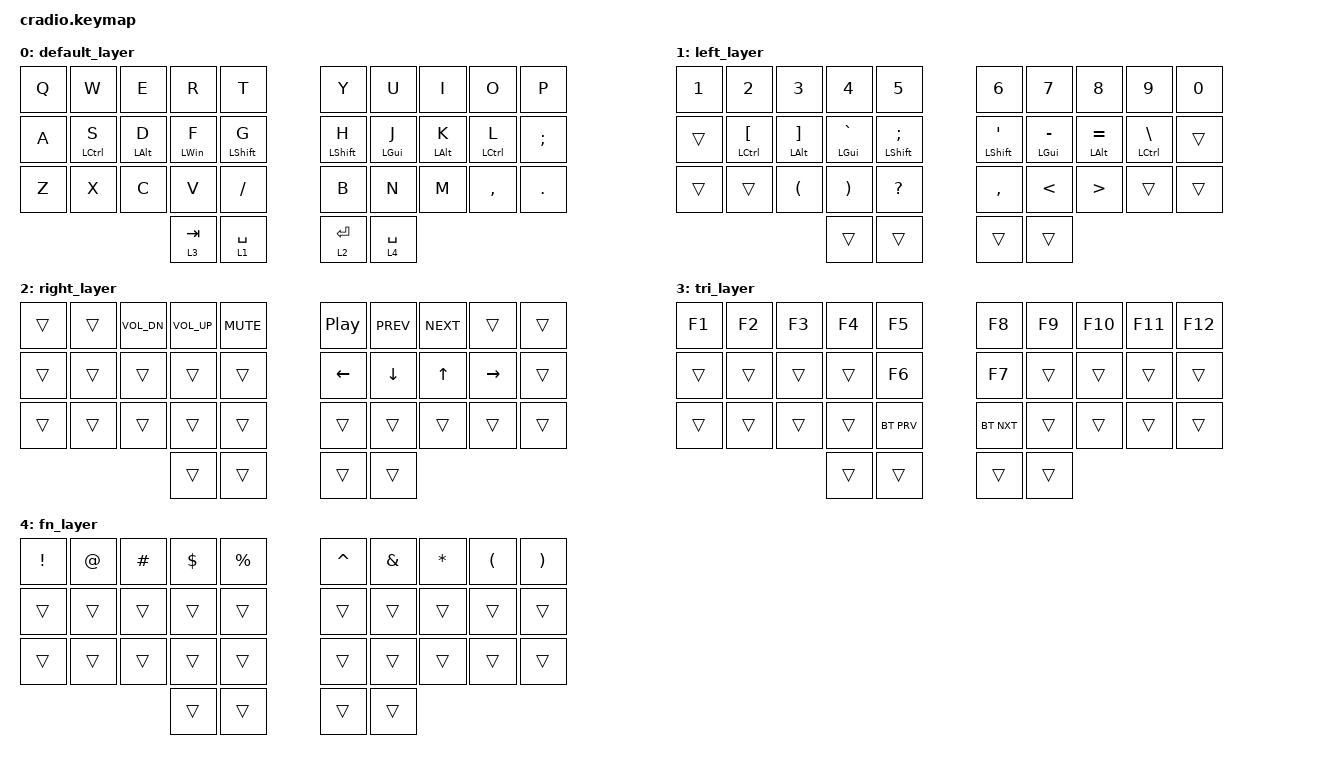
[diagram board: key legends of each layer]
// Copyright (c) 2022 The ZMK Contributors
// SPDX-License-Identifier: MIT

#include <behaviors.dtsi>
#include <dt-bindings/zmk/keys.h>
#include <dt-bindings/zmk/bt.h>


&mt {
    flavor = "balanced";
    tapping_term_ms = <200>;
};

/ {
    combos {
        compatible = "zmk,combos";

        combo_esc {
            timeout-ms = <150>;
            key-positions = <0 1>;
            layers = <0 1 2 4 3>;
            bindings = <&kp ESC>;
        };

        combo_bs {
            timeout-ms = <150>;
            key-positions = <9 8>;
            layers = <0 1 2 3 4>;
            bindings = <&kp BACKSPACE>;
        };

        combo_lsh {
            timeout-ms = <150>;
            key-positions = <20 21>;
            layers = <0 1 2 3 4>;
            bindings = <&kp LEFT_SHIFT>
        };

        combo_rsh {
            timeout-ms = <150>;
            key-positions = <28 29>;
            layers = <0 1 2 3 4>;
            bindings = <&kp RIGHT_SHIFT>
        };

        bt_clr {
            bindings = <&bt BT_CLR>;
            key-positions = <20 21 28 29>;
            layers = <3>;
        };
    };

    keymap {
        compatible = "zmk,keymap";

        default_layer {
            bindings = <
            &kp Q        &kp W       &kp E       &kp R             &kp T             &kp Y        &kp U       &kp I        &kp O    &kp P
           &kp  A  &mt LCTRL S  &mt LALT D  &mt LWIN F  &mt LEFT_SHIFT G  &mt LEFT_SHIFT H   &mt LGUI J  &mt LALT K  &mt LCTRL L    &kp SEMICOLON
            &kp Z        &kp X       &kp C       &kp V          &kp FSLH             &kp B        &kp N       &kp M    &kp COMMA    &kp PERIOD
                                             &lt 3 TAB       &lt 1 SPACE       &lt 2 ENTER  &lt 4 SPACE
            >;
        };

        left_layer {
            bindings = <
 &kp NUMBER_1                   &kp NUMBER_2            &kp NUMBER_3           &kp NUMBER_4              &kp NUMBER_5          &kp NUMBER_6    &kp NUMBER_7      &kp NUMBER_8                &kp NUMBER_9  &kp NUMBER_0
       &trans  &mt LEFT_CONTROL LEFT_BRACKET  &mt LALT RIGHT_BRACKET     &mt LEFT_GUI GRAVE  &mt LEFT_SHIFT SEMICOLON  &mt LSHFT APOSTROPHE  &mt LGUI MINUS    &mt LALT EQUAL  &mt LEFT_CONTROL BACKSLASH        &trans
       &trans                         &trans    &kp LEFT_PARENTHESIS  &kp RIGHT_PARENTHESIS              &kp QUESTION             &kp COMMA   &kp LESS_THAN  &kp GREATER_THAN                      &trans        &trans
                                                                                     &trans                    &trans                &trans          &trans
            >;
        };

        right_layer {
            bindings = <
    &trans  &trans  &kp C_VOL_DN  &kp C_VOL_UP  &kp C_MUTE  &kp C_PP  &kp C_PREV  &kp C_NEXT     &trans      &trans
    &trans  &trans        &trans        &trans      &trans  &kp LEFT    &kp DOWN      &kp UP  &kp RIGHT      &trans
    &trans  &trans        &trans        &trans      &trans    &trans      &trans      &trans     &trans      &trans
                                        &trans      &trans    &trans      &trans
            >;
        };

        tri_layer {
            bindings = <
 &kp F1  &kp F2  &kp F3  &kp F4      &kp F5      &kp F8  &kp F9  &kp F10  &kp F11  &kp F12
 &trans  &trans  &trans  &trans      &kp F6      &kp F7  &trans   &trans   &trans   &trans
 &trans  &trans  &trans  &trans  &bt BT_PRV  &bt BT_NXT  &trans   &trans   &trans   &trans
                         &trans      &trans      &trans  &trans
            >;
        };

        fn_layer {
            bindings = <
 &kp EXCL  &kp AT  &kp HASH  &kp DOLLAR  &kp PERCENT  &kp CARET  &kp AMPS  &kp STAR  &kp LEFT_PARENTHESIS  &kp RIGHT_PARENTHESIS
   &trans  &trans    &trans      &trans       &trans     &trans    &trans    &trans                &trans                 &trans
   &trans  &trans    &trans      &trans       &trans     &trans    &trans    &trans                &trans                 &trans
                                 &trans       &trans     &trans    &trans
            >;
        };
    };
};
